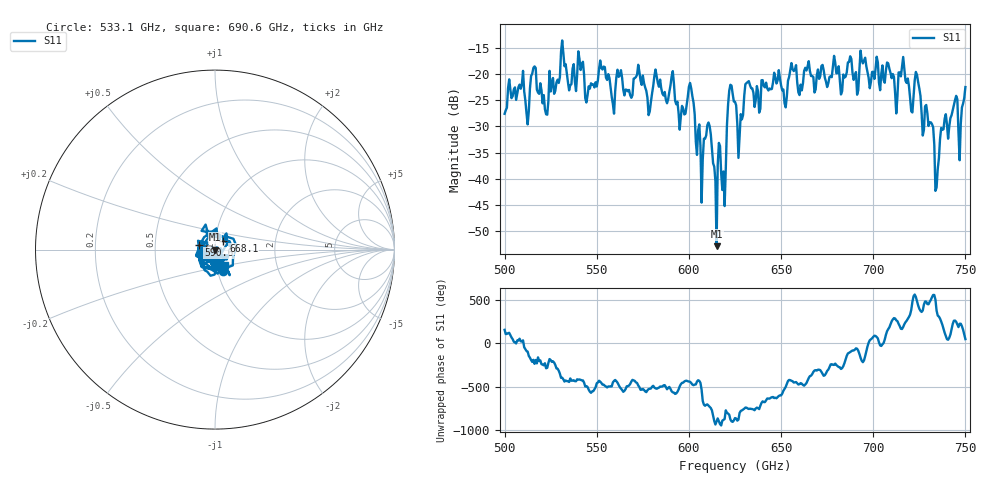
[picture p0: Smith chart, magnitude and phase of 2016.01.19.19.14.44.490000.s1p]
!Created with skrf (http://scikit-rf.org).
# GHz S RI R 50.0
!freq ReS11 ImS11
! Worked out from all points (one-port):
!   401 points, 500 GHz to 750 GHz, reference 50 ohm
!   lowest |S11| = -52.8 dB at 615 GHz (marker M1), VSWR 1.00, Z = 49.8 + j0.0256 ohm
!   |S11| at or under -10 dB: start of sweep to end of sweep
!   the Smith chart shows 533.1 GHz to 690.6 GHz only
!   S11 on the Smith chart (normalised r, x): 533.1 GHz: 1.06, -0.25; 590.6 GHz: 0.83, +0.04; 668.1 GHz: 1.09, +0.10; 690.6 GHz: 1.10, -0.20
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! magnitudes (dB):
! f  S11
! 500 GHz  -27.6
! 512.5 GHz  -29.6
! 515.6 GHz  -18.8
! 522.5 GHz  -27.7
! 531.2 GHz  -13.6
! 533.1 GHz  -18.1
! 562.5 GHz  -20.3
! 590.6 GHz  -20.4
! 593.8 GHz  -25.3
! 601.2 GHz  -22.7
! 605.6 GHz  -29.6
! 610.6 GHz  -29.2
! 615 GHz  -52.8
! 618.8 GHz  -38.6
! 622.5 GHz  -22.1
! 625 GHz  -25.3
! 627.5 GHz  -31.6
! 631.9 GHz  -21.5
! 656.2 GHz  -19.1
! 668.1 GHz  -23.5
! 687.5 GHz  -16.6
! 690.6 GHz  -19.6
! 718.8 GHz  -20.9
! 724.4 GHz  -21.6
! 734.4 GHz  -41.6
! 738.1 GHz  -30.5
! 747.5 GHz  -29.4
! 750 GHz  -22.5
